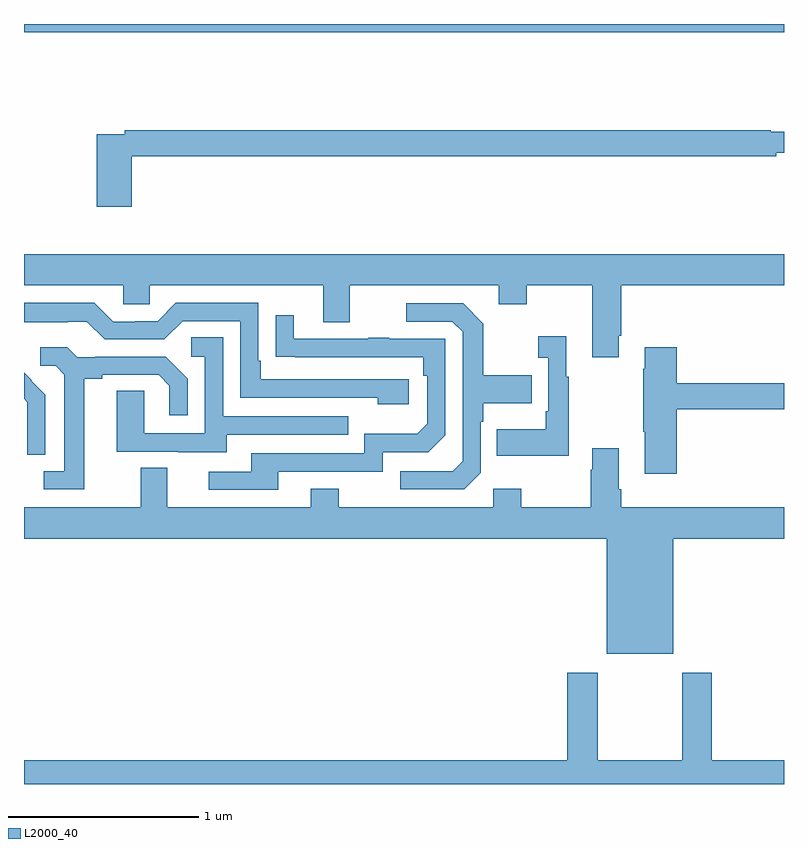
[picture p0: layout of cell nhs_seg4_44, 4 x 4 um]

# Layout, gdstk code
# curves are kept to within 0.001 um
import gdstk
lib = gdstk.Library(unit=1e-6, precision=1e-09)
def R(c, l, rs):  # rectangles x0, y0, x1, y1
    for r in rs: c.add(gdstk.rectangle(r[:2], r[2:], *l))
def P(c, l, *ps):  # polygons
    for p in ps: c.add(gdstk.Polygon(p, *l))
L2000_40 = (2000, 40)

nhs_seg4_44 = lib.new_cell('nhs_seg4_44')
R(nhs_seg4_44, L2000_40, [(113,760.856,117,760.9)])
P(nhs_seg4_44, L2000_40, [(113.567,760.204),(116.96,760.204),(116.96,760.223),(117,760.223),(117,760.333),(116.93,760.333),(116.93,760.34),(113.53,760.34),(113.53,760.32),(113.384,760.32),(113.384,759.939),(113.567,759.939)],
  [(116.131,759.259),(116.144,759.259),(116.144,759.524),(117,759.524),(117,759.688),(113,759.688),(113,759.524),(113.523,759.524),(113.523,759.426),(113.661,759.426),(113.661,759.524),(114.575,759.524),(114.575,759.33),(114.715,759.33),(114.715,759.524),(115.499,759.524),(115.499,759.425),(115.647,759.425),(115.647,759.524),(115.991,759.524),(115.991,759.147),(116.131,759.147)],
  [(115.024,759.03),(114.247,759.03),(114.247,759.127),(114.234,759.127),(114.234,759.432),(113.799,759.432),(113.703,759.336),(113.585,759.336),(113.585,759.333),(113.469,759.333),(113.369,759.433),(113,759.433),(113,759.329),(113.231,759.329),(113.231,759.333),(113.331,759.333),(113.424,759.24),(113.739,759.24),(113.835,759.336),(114.138,759.336),(114.138,758.934),(114.863,758.934),(114.863,758.9),(115.024,758.9)],
  [(115.404,758.538),(115.404,758.807),(115.417,758.807),(115.417,758.903),(115.673,758.903),(115.673,759.051),(115.417,759.051),(115.417,759.323),(115.311,759.429),(115.011,759.429),(115.011,759.333),(115.254,759.333),(115.308,759.279),(115.308,758.598),(115.257,758.547),(114.981,758.547),(114.981,758.451),(115.317,758.451)],
  [(114.337,758.544),(114.888,758.544),(114.888,758.646),(115.128,758.646),(115.218,758.736),(115.218,759.243),(114.923,759.243),(114.923,759.248),(114.811,759.248),(114.811,759.243),(114.421,759.243),(114.421,759.367),(114.325,759.367),(114.325,759.148),(115.102,759.147),(115.102,759.05),(115.122,759.05),(115.122,758.796),(115.069,758.743),(114.792,758.743),(114.792,758.64),(114.197,758.64),(114.197,758.544),(113.973,758.544),(113.973,758.448),(114.337,758.448)],
  [(115.867,759.043),(115.855,759.043),(115.855,759.256),(115.707,759.256),(115.707,759.143),(115.758,759.143),(115.758,758.863),(115.746,758.863),(115.746,758.767),(115.489,758.767),(115.489,758.627),(115.867,758.627)],
  [(114.067,758.739),(114.707,758.739),(114.707,758.835),(114.048,758.835),(114.048,759.251),(113.88,759.251),(113.88,759.15),(113.952,759.15),(113.952,758.745),(113.634,758.745),(113.634,758.969),(113.489,758.969),(113.489,758.649),(113.813,758.649),(113.813,758.645),(114.067,758.645)],
  [(116.435,758.872),(117,758.872),(117,759.008),(116.435,759.008),(116.435,759.199),(116.267,759.199),(116.267,759.086),(116.26,759.086),(116.26,758.755),(116.267,758.755),(116.267,758.532),(116.435,758.532)],
  [(113.317,759.032),(113.413,759.032),(113.413,759.054),(113.708,759.054),(113.765,758.997),(113.765,758.841),(113.862,758.841),(113.862,759.034),(113.746,759.15),(113.374,759.15),(113.374,759.147),(113.28,759.147),(113.228,759.199),(113.085,759.199),(113.085,759.102),(113.166,759.102),(113.213,759.055),(113.213,758.547),(113.103,758.547),(113.103,758.451),(113.317,758.451)],
  [(113.112,758.95),(113.039,759.023),(113.04,759.024),(113,759.064),(113,758.927),(113.018,758.909),(113.018,758.786),(113.016,758.786),(113.016,758.632),(113.112,758.632)],
  [(116.416,758.192),(117,758.192),(117,758.356),(116.144,758.356),(116.144,758.452),(116.131,758.452),(116.131,758.668),(115.991,758.668),(115.991,758.555),(115.984,758.555),(115.984,758.356),(115.617,758.356),(115.617,758.455),(115.47,758.455),(115.47,758.356),(114.657,758.356),(114.657,758.455),(114.509,758.455),(114.509,758.356),(113.755,758.356),(113.755,758.564),(113.615,758.564),(113.615,758.356),(113,758.356),(113,758.192),(116.066,758.192),(116.066,757.586),(116.416,757.586)],
  [(117,757.024),(116.619,757.024),(116.619,757.486),(116.464,757.486),(116.464,757.024),(116.019,757.024),(116.019,757.486),(115.859,757.486),(115.859,757.024),(113,757.024),(113,756.9),(117,756.9)])

lib.write_gds('nhs_seg4_44.gds')
